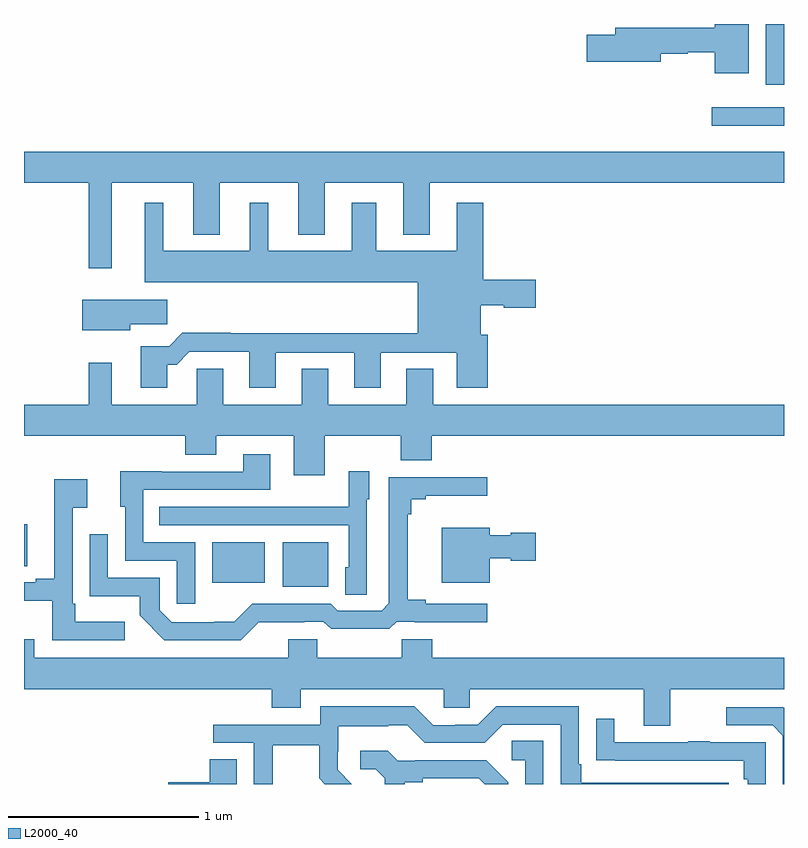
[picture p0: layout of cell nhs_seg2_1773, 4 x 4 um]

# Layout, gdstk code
import gdstk
lib = gdstk.Library(unit=1e-6, precision=1e-09)
def R(c, l, rs):  # rectangles x0, y0, x1, y1
    for r in rs: c.add(gdstk.rectangle(r[:2], r[2:], *l))
def P(c, l, *ps):  # polygons
    for p in ps: c.add(gdstk.Polygon(p, *l))
L2000_40 = (2000, 40)

nhs_seg2_1773 = lib.new_cell('nhs_seg2_1773')
R(nhs_seg2_1773, L2000_40, [(204.362,650.837,204.601,651.073), (203.99,650.858,204.268,651.073), (203,650.947,203.017,651.166), (206.619,653.264,207,653.361), (206.903,653.481,207,653.8)])
P(nhs_seg2_1773, L2000_40, [(206.815,653.8),(206.636,653.8),(206.636,653.78),(206.111,653.78),(206.111,653.744),(205.962,653.744),(205.962,653.602),(206.35,653.602),(206.35,653.644),(206.493,653.644),(206.493,653.652),(206.636,653.652),(206.636,653.54),(206.815,653.54)],
  [(203.461,652.964),(203.891,652.964),(203.891,652.691),(204.031,652.691),(204.031,652.964),(204.443,652.964),(204.443,652.691),(204.583,652.691),(204.583,652.964),(204.995,652.964),(204.995,652.691),(205.135,652.691),(205.135,652.964),(207,652.964),(207,653.128),(203,653.128),(203,652.964),(203.34,652.964),(203.34,652.515),(203.461,652.515)],
  [(203.755,652.007),(203.804,652.007),(203.871,652.074),(204.185,652.074),(204.185,651.885),(204.325,651.885),(204.325,652.071),(204.737,652.071),(204.737,651.885),(204.877,651.885),(204.877,652.071),(205.277,652.071),(205.277,651.885),(205.442,651.885),(205.442,652.164),(205.405,652.164),(205.405,652.319),(205.525,652.319),(205.525,652.307),(205.693,652.307),(205.693,652.454),(205.418,652.454),(205.418,652.858),(205.277,652.858),(205.277,652.606),(204.853,652.606),(204.853,652.858),(204.725,652.858),(204.725,652.606),(204.286,652.606),(204.286,652.858),(204.188,652.858),(204.188,652.606),(203.734,652.606),(203.734,652.858),(203.636,652.858),(203.636,652.442),(205.073,652.442),(205.073,652.172),(204.089,652.172),(204.089,652.175),(203.834,652.175),(203.764,652.105),(203.615,652.105),(203.615,651.885),(203.755,651.885)],
  [(203.56,652.219),(203.755,652.219),(203.755,652.348),(203.306,652.348),(203.306,652.187),(203.56,652.187)],
  [(204.583,651.632),(204.983,651.632),(204.983,651.504),(205.147,651.504),(205.147,651.632),(207,651.632),(207,651.796),(205.153,651.796),(205.153,651.986),(205.013,651.986),(205.013,651.796),(204.601,651.796),(204.601,651.986),(204.461,651.986),(204.461,651.796),(204.049,651.796),(204.049,651.986),(203.91,651.986),(203.91,651.796),(203.461,651.796),(203.461,652.018),(203.34,652.018),(203.34,651.796),(203,651.796),(203,651.632),(203.849,651.632),(203.849,651.533),(204.013,651.533),(204.013,651.632),(204.419,651.632),(204.419,651.426),(204.583,651.426)],
  [(203.901,651.072),(203.628,651.072),(203.628,651.348),(204.295,651.348),(204.295,651.535),(204.155,651.535),(204.155,651.444),(203.725,651.444),(203.725,651.446),(203.507,651.446),(203.507,651.258),(203.532,651.258),(203.532,650.976),(203.805,650.976),(203.805,650.748),(203.901,650.748)],
  [(204.804,651.3),(204.817,651.3),(204.817,651.445),(204.708,651.445),(204.708,651.259),(204.391,651.259),(204.391,651.258),(203.713,651.258),(203.713,651.162),(204.708,651.162),(204.708,650.94),(204.692,650.94),(204.692,650.797),(204.804,650.797)],
  [(204.236,650.651),(204.476,650.651),(204.476,650.655),(204.576,650.655),(204.616,650.616),(204.923,650.616),(204.963,650.655),(205.057,650.655),(205.057,650.651),(205.438,650.651),(205.438,650.748),(205.114,650.748),(205.114,650.771),(205.019,650.771),(205.019,651.221),(205.037,651.221),(205.037,651.298),(205.114,651.298),(205.114,651.317),(205.438,651.317),(205.438,651.414),(204.921,651.414),(204.921,650.751),(204.882,650.712),(204.651,650.712),(204.615,650.748),(204.201,650.748),(204.107,650.654),(204.002,650.654),(204.002,650.652),(203.778,650.652),(203.715,650.715),(203.715,650.886),(203.442,650.886),(203.442,651.115),(203.346,651.115),(203.346,650.789),(203.608,650.789),(203.608,650.687),(203.738,650.556),(204.141,650.556)],
  [(203.53,650.653),(203.269,650.653),(203.269,650.749),(203.256,650.749),(203.256,651.254),(203.332,651.254),(203.332,651.403),(203.159,651.403),(203.159,650.881),(203.063,650.881),(203.063,650.862),(203,650.862),(203,650.765),(203.148,650.765),(203.148,650.556),(203.53,650.556)],
  [(205.45,650.987),(205.563,650.987),(205.563,650.975),(205.693,650.975),(205.693,651.122),(205.563,651.122),(205.563,651.109),(205.45,651.109),(205.45,651.148),(205.199,651.148),(205.199,650.858),(205.45,650.858)],
  [(206.401,650.3),(207,650.3),(207,650.464),(205.148,650.464),(205.148,650.562),(204.988,650.562),(204.988,650.464),(204.543,650.464),(204.543,650.562),(204.392,650.562),(204.392,650.464),(203.053,650.464),(203.053,650.563),(203,650.563),(203,650.3),(204.305,650.3),(204.305,650.201),(204.457,650.201),(204.457,650.3),(205.209,650.3),(205.209,650.202),(205.347,650.202),(205.347,650.3),(206.261,650.3),(206.261,650.106),(206.401,650.106)],
  [(204.309,650.004),(204.553,650.004),(204.553,649.829),(204.582,649.8),(204.726,649.8),(204.652,649.874),(204.652,649.971),(204.654,649.971),(204.654,650.105),(204.917,650.105),(204.917,650.109),(205.017,650.109),(205.11,650.016),(205.425,650.016),(205.521,650.112),(205.824,650.112),(205.824,649.8),(206.71,649.8),(206.71,649.806),(205.933,649.806),(205.933,649.903),(205.92,649.903),(205.92,650.208),(205.485,650.208),(205.389,650.112),(205.271,650.112),(205.271,650.109),(205.155,650.109),(205.055,650.209),(204.558,650.209),(204.558,650.112),(203.997,650.112),(203.997,650.016),(204.21,650.016),(204.21,649.8),(204.309,649.8)],
  [(207,650.202),(206.997,650.205),(206.697,650.205),(206.697,650.109),(206.94,650.109),(206.994,650.055),(206.994,649.8),(207,649.8)],
  [(206.904,650.019),(206.609,650.019),(206.609,650.024),(206.497,650.024),(206.497,650.019),(206.107,650.019),(206.107,650.143),(206.011,650.143),(206.011,649.924),(206.113,649.924),(206.113,649.923),(206.788,649.923),(206.788,649.826),(206.808,649.826),(206.808,649.8),(206.904,649.8)],
  [(205.734,650.027),(205.566,650.027),(205.566,649.926),(205.638,649.926),(205.638,649.8),(205.734,649.8)],
  [(205.003,649.808),(205.099,649.808),(205.099,649.83),(205.394,649.83),(205.424,649.8),(205.548,649.8),(205.548,649.81),(205.432,649.926),(205.06,649.926),(205.06,649.923),(204.966,649.923),(204.914,649.975),(204.771,649.975),(204.771,649.878),(204.852,649.878),(204.899,649.831),(204.899,649.8),(205.003,649.8)],
  [(204.121,649.931),(203.978,649.931),(203.978,649.808),(203.76,649.808),(203.76,649.8),(204.121,649.8)])

lib.write_gds('nhs_seg2_1773.gds')
